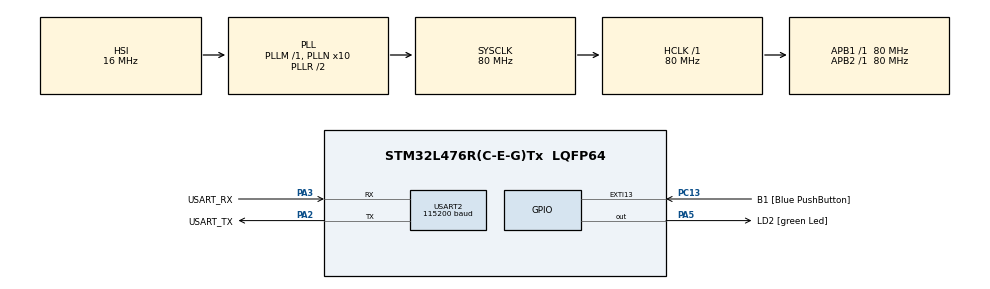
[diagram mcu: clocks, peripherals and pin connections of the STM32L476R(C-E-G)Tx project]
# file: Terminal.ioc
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Mcu.Family=STM32L4
Mcu.Name=STM32L476R(C-E-G)Tx
Mcu.Package=LQFP64
NVIC.PriorityGroup=NVIC_PRIORITYGROUP_4
NVIC.TIM6_DAC_IRQn=true\:0\:0\:false\:false\:true\:true\:true\:true
PA13\ (JTMS-SWDIO).GPIO_Label=TMS
PA13\ (JTMS-SWDIO).Mode=Serial_Wire
PA13\ (JTMS-SWDIO).Signal=SYS_JTMS-SWDIO
PA14\ (JTCK-SWCLK).GPIO_Label=TCK
PA14\ (JTCK-SWCLK).Mode=Serial_Wire
PA14\ (JTCK-SWCLK).Signal=SYS_JTCK-SWCLK
PA2.GPIO_Label=USART_TX
PA2.GPIO_Mode=GPIO_MODE_AF_PP
PA2.GPIO_PuPd=GPIO_NOPULL
PA2.GPIO_Speed=GPIO_SPEED_FREQ_VERY_HIGH
PA2.Mode=Asynchronous
PA2.Signal=USART2_TX
PA3.GPIO_Label=USART_RX
PA3.GPIO_Mode=GPIO_MODE_AF_PP
PA3.GPIO_PuPd=GPIO_NOPULL
PA3.GPIO_Speed=GPIO_SPEED_FREQ_VERY_HIGH
PA3.Mode=Asynchronous
PA3.Signal=USART2_RX
PA5.GPIO_Label=LD2 [green Led]
PA5.GPIO_ModeDefaultOutputPP=GPIO_MODE_OUTPUT_PP
PA5.GPIO_PuPd=GPIO_NOPULL
PA5.GPIO_Speed=GPIO_SPEED_FREQ_LOW
PA5.Signal=GPIO_Output
PB3\ (JTDO-TRACESWO).GPIO_Label=SWO
PB3\ (JTDO-TRACESWO).Signal=SYS_JTDO-SWO
PC13.GPIO_Label=B1 [Blue PushButton]
PC13.GPIO_ModeDefaultEXTI=GPIO_MODE_IT_FALLING
PC13.GPIO_PuPd=GPIO_NOPULL
PC13.Signal=GPXTI13
PC14-OSC32_IN\ (PC14).Mode=LSE-External-Oscillator
PC14-OSC32_IN\ (PC14).Signal=RCC_OSC32_IN
PC15-OSC32_OUT\ (PC15).Mode=LSE-External-Oscillator
PC15-OSC32_OUT\ (PC15).Signal=RCC_OSC32_OUT
PH0-OSC_IN\ (PH0).Signal=RCC_OSC_IN
PH1-OSC_OUT\ (PH1).Signal=RCC_OSC_OUT
ProjectManager.HeapSize=0x200
ProjectManager.StackSize=0x400
ProjectManager.TargetToolchain=STM32CubeIDE
RCC.ADCFreq_Value=64000000
RCC.AHBFreq_Value=80000000
RCC.APB1Freq_Value=80000000
RCC.APB1TimFreq_Value=80000000
RCC.APB2Freq_Value=80000000
RCC.APB2TimFreq_Value=80000000
RCC.CortexFreq_Value=80000000
RCC.HCLKFreq_Value=80000000
RCC.HSE_VALUE=8000000
RCC.HSI_VALUE=16000000
RCC.MSI_VALUE=4000000
RCC.PLLN=10
RCC.PLLSourceVirtual=RCC_PLLSOURCE_HSI
RCC.PREFETCH_ENABLE=1
RCC.SYSCLKFreq_VALUE=80000000
RCC.SYSCLKSource=RCC_SYSCLKSOURCE_PLLCLK
RCC.USBFreq_Value=64000000
RCC.VCOOutputFreq_Value=160000000
TIM6.Period=9999
TIM6.Prescaler=7999
USART2.BaudRate=115200
USART2.VirtualMode-Asynchronous=VM_ASYNC
VP_TIM6_VS_ClockSourceINT.Mode=Enable_Timer
board=NUCLEO-L476RG

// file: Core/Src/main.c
/* USER CODE BEGIN Header */
/**
  ******************************************************************************
  * @file           : main.c
  * @brief          : Main program body
  ******************************************************************************
  * @attention
  *
  * Copyright (c) 2022 STMicroelectronics.
  * All rights reserved.
  *
  * This software is licensed under terms that can be found in the LICENSE file
  * in the root directory of this software component.
  * If no LICENSE file comes with this software, it is provided AS-IS.
  *
  ******************************************************************************
  */
/* USER CODE END Header */
#include "main.h"

/* USER CODE BEGIN Includes */
#include <stdio.h>
/* USER CODE END Includes */

 TIM_HandleTypeDef htim6;

UART_HandleTypeDef huart2;

void SystemClock_Config(void);
static void MX_GPIO_Init(void);
static void MX_USART2_UART_Init(void);
static void MX_TIM6_Init(void);
/* USER CODE BEGIN PFP */
#define PUTCHAR_PROTOTYPE int __io_putchar(int ch)
/* USER CODE END PFP */

/* USER CODE BEGIN 0 */

/////////////////////////////////////////////////////////////////////////
// Led task definitions and functions
/////////////////////////////////////////////////////////////////////////

enum LedTaskState
{
	LedOn,
	LedOff,
};

enum LedTaskState ledState;
int ledCount;
int ledMaxCount;

void ledTask()
{
	if (ledState == LedOn)
	{
		if (ledCount++ >= ledMaxCount)
		{
			HAL_GPIO_TogglePin(LD2_GPIO_Port, LD2_Pin);
			ledCount = 0;
		}
	}
	else if (ledState == LedOff)
	{
		//HAL_GPIO_WritePin(LD2_GPIO_Port, LD2_Pin, 0);
	}
}

void ledStart(int maxCount)
{
	ledState = LedOn;
	ledMaxCount = maxCount;
}

void ledStop()
{
	ledState = LedOff;
	HAL_GPIO_WritePin(LD2_GPIO_Port, LD2_Pin, 0);
}

/////////////////////////////////////////////////////////////////////////
// Communication task definitions and functions
/////////////////////////////////////////////////////////////////////////

#define MAX_BUFFER_LENGTH 100

uint8_t cmdbuffer[MAX_BUFFER_LENGTH];
int cmdcount = 0;
int cmdprint = 0;

int Communication_commTask()
{
	uint8_t ch;

	HAL_StatusTypeDef Status = HAL_UART_Receive(&huart2, &ch, 1, 10);
	if (Status != HAL_OK)
	{
		if ((huart2.Instance->ISR & USART_ISR_ORE) != 0)
		{
			__HAL_UART_CLEAR_OREFLAG(&huart2);
		}

		// here we have a time to print the command
		while (cmdprint < cmdcount)
		{
			HAL_UART_Transmit(&huart2, &cmdbuffer[cmdprint++], 1, 0xFFFF);
		}

		return 0;
	}

	if (ch != '\r' && ch != '\n')
	{
		//HAL_UART_Transmit(&huart2, &ch, 1, 0xFFFF);

		if (cmdcount >= MAX_BUFFER_LENGTH)
		{
			cmdcount = 0;
			cmdprint = 0;
		}

		cmdbuffer[cmdcount++] = ch;
		return 0;
	}

	// here we have a time to print the command
	while (cmdprint < cmdcount)
	{
		HAL_UART_Transmit(&huart2, &cmdbuffer[cmdprint++], 1, 0xFFFF);
	}

	HAL_UART_Transmit(&huart2, (uint8_t*)"\r\n", 2, 0xFFFF);

	cmdbuffer[cmdcount] = 0;
	cmdcount = 0;
	cmdprint = 0;
	return 1;
}

void Communication_handleCommand()
{
  char cmd[20];
  int maxCount;

  int params = sscanf((const char*)cmdbuffer, "%s %d", cmd, &maxCount);

  if (params == 0)
  {
	  return;
  }

  if (strcmp(cmd, "start") == 0)
  {
	  ledStart(maxCount);
  }
  else if (strcmp(cmd, "stop") == 0)
  {
	  ledStop();
  }
  else
  {
	  printf("Invalid command\r\n");
  }
}

/////////////////////////////////////////////////////////////////////////
// Redirecting printf to UART
/////////////////////////////////////////////////////////////////////////
int _write(int fd, char* ptr, int len) {
    HAL_UART_Transmit(&huart2, (uint8_t *) ptr, len, HAL_MAX_DELAY);
    return len;
}

/* USER CODE END 0 */

int main(void)
{

  /* MCU Configuration--------------------------------------------------------*/

  /* Reset of all peripherals, Initializes the Flash interface and the Systick. */
  HAL_Init();

  /* Configure the system clock */
  SystemClock_Config();

  /* Initialize all configured peripherals */
  MX_GPIO_Init();
  MX_USART2_UART_Init();
  MX_TIM6_Init();
  /* USER CODE BEGIN 2 */
  HAL_TIM_Base_Start_IT(&htim6);
  HAL_NVIC_EnableIRQ(TIM6_DAC_IRQn);
  /* USER CODE END 2 */

  /* Infinite loop */
  /* USER CODE BEGIN WHILE */
  uint8_t ch;

  while (1)
  {
    /* USER CODE END WHILE */

    /* USER CODE BEGIN 3 */
	  ledTask();
	  if (Communication_commTask()){
	  		Communication_handleCommand();
	  	}
  }
  /* USER CODE END 3 */
}

void SystemClock_Config(void)
{
  RCC_OscInitTypeDef RCC_OscInitStruct = {0};
  RCC_ClkInitTypeDef RCC_ClkInitStruct = {0};

  /** Configure the main internal regulator output voltage
  */
  if (HAL_PWREx_ControlVoltageScaling(PWR_REGULATOR_VOLTAGE_SCALE1) != HAL_OK)
  {
    Error_Handler();
  }

  /** Initializes the RCC Oscillators according to the specified parameters
  * in the RCC_OscInitTypeDef structure.
  */
  RCC_OscInitStruct.OscillatorType = RCC_OSCILLATORTYPE_HSI;
  RCC_OscInitStruct.HSIState = RCC_HSI_ON;
  RCC_OscInitStruct.HSICalibrationValue = RCC_HSICALIBRATION_DEFAULT;
  RCC_OscInitStruct.PLL.PLLState = RCC_PLL_ON;
  RCC_OscInitStruct.PLL.PLLSource = RCC_PLLSOURCE_HSI;
  RCC_OscInitStruct.PLL.PLLM = 1;
  RCC_OscInitStruct.PLL.PLLN = 10;
  RCC_OscInitStruct.PLL.PLLP = RCC_PLLP_DIV7;
  RCC_OscInitStruct.PLL.PLLQ = RCC_PLLQ_DIV2;
  RCC_OscInitStruct.PLL.PLLR = RCC_PLLR_DIV2;
  if (HAL_RCC_OscConfig(&RCC_OscInitStruct) != HAL_OK)
  {
    Error_Handler();
  }

  /** Initializes the CPU, AHB and APB buses clocks
  */
  RCC_ClkInitStruct.ClockType = RCC_CLOCKTYPE_HCLK|RCC_CLOCKTYPE_SYSCLK
                              |RCC_CLOCKTYPE_PCLK1|RCC_CLOCKTYPE_PCLK2;
  RCC_ClkInitStruct.SYSCLKSource = RCC_SYSCLKSOURCE_PLLCLK;
  RCC_ClkInitStruct.AHBCLKDivider = RCC_SYSCLK_DIV1;
  RCC_ClkInitStruct.APB1CLKDivider = RCC_HCLK_DIV1;
  RCC_ClkInitStruct.APB2CLKDivider = RCC_HCLK_DIV1;

  if (HAL_RCC_ClockConfig(&RCC_ClkInitStruct, FLASH_LATENCY_4) != HAL_OK)
  {
    Error_Handler();
  }
}

static void MX_TIM6_Init(void)
{

  TIM_MasterConfigTypeDef sMasterConfig = {0};

  htim6.Instance = TIM6;
  htim6.Init.Prescaler = 7999;
  htim6.Init.CounterMode = TIM_COUNTERMODE_UP;
  htim6.Init.Period = 9999;
  htim6.Init.AutoReloadPreload = TIM_AUTORELOAD_PRELOAD_DISABLE;
  if (HAL_TIM_Base_Init(&htim6) != HAL_OK)
  {
    Error_Handler();
  }
  sMasterConfig.MasterOutputTrigger = TIM_TRGO_RESET;
  sMasterConfig.MasterSlaveMode = TIM_MASTERSLAVEMODE_DISABLE;
  if (HAL_TIMEx_MasterConfigSynchronization(&htim6, &sMasterConfig) != HAL_OK)
  {
    Error_Handler();
  }

}

static void MX_USART2_UART_Init(void)
{

  huart2.Instance = USART2;
  huart2.Init.BaudRate = 115200;
  huart2.Init.WordLength = UART_WORDLENGTH_8B;
  huart2.Init.StopBits = UART_STOPBITS_1;
  huart2.Init.Parity = UART_PARITY_NONE;
  huart2.Init.Mode = UART_MODE_TX_RX;
  huart2.Init.HwFlowCtl = UART_HWCONTROL_NONE;
  huart2.Init.OverSampling = UART_OVERSAMPLING_16;
  huart2.Init.OneBitSampling = UART_ONE_BIT_SAMPLE_DISABLE;
  huart2.AdvancedInit.AdvFeatureInit = UART_ADVFEATURE_NO_INIT;
  if (HAL_UART_Init(&huart2) != HAL_OK)
  {
    Error_Handler();
  }

}

static void MX_GPIO_Init(void)
{
  GPIO_InitTypeDef GPIO_InitStruct = {0};

  /* GPIO Ports Clock Enable */
  __HAL_RCC_GPIOC_CLK_ENABLE();
  __HAL_RCC_GPIOH_CLK_ENABLE();
  __HAL_RCC_GPIOA_CLK_ENABLE();
  __HAL_RCC_GPIOB_CLK_ENABLE();

  /*Configure GPIO pin Output Level */
  HAL_GPIO_WritePin(LD2_GPIO_Port, LD2_Pin, GPIO_PIN_RESET);

  /*Configure GPIO pin : B1_Pin */
  GPIO_InitStruct.Pin = B1_Pin;
  GPIO_InitStruct.Mode = GPIO_MODE_IT_FALLING;
  GPIO_InitStruct.Pull = GPIO_NOPULL;
  HAL_GPIO_Init(B1_GPIO_Port, &GPIO_InitStruct);

  /*Configure GPIO pin : LD2_Pin */
  GPIO_InitStruct.Pin = LD2_Pin;
  GPIO_InitStruct.Mode = GPIO_MODE_OUTPUT_PP;
  GPIO_InitStruct.Pull = GPIO_NOPULL;
  GPIO_InitStruct.Speed = GPIO_SPEED_FREQ_LOW;
  HAL_GPIO_Init(LD2_GPIO_Port, &GPIO_InitStruct);

}

/* USER CODE BEGIN 4 */
PUTCHAR_PROTOTYPE
{
  /* Place your implementation of fputc here */
  /* e.g. write a character to the USART1 and Loop until the end of transmission */
  HAL_UART_Transmit(&huart2, (uint8_t *)&ch, 1, 0xFFFF);

  return ch;
}
/* USER CODE END 4 */

void Error_Handler(void)
{
  __disable_irq();
  while (1)
  {
  }
}
